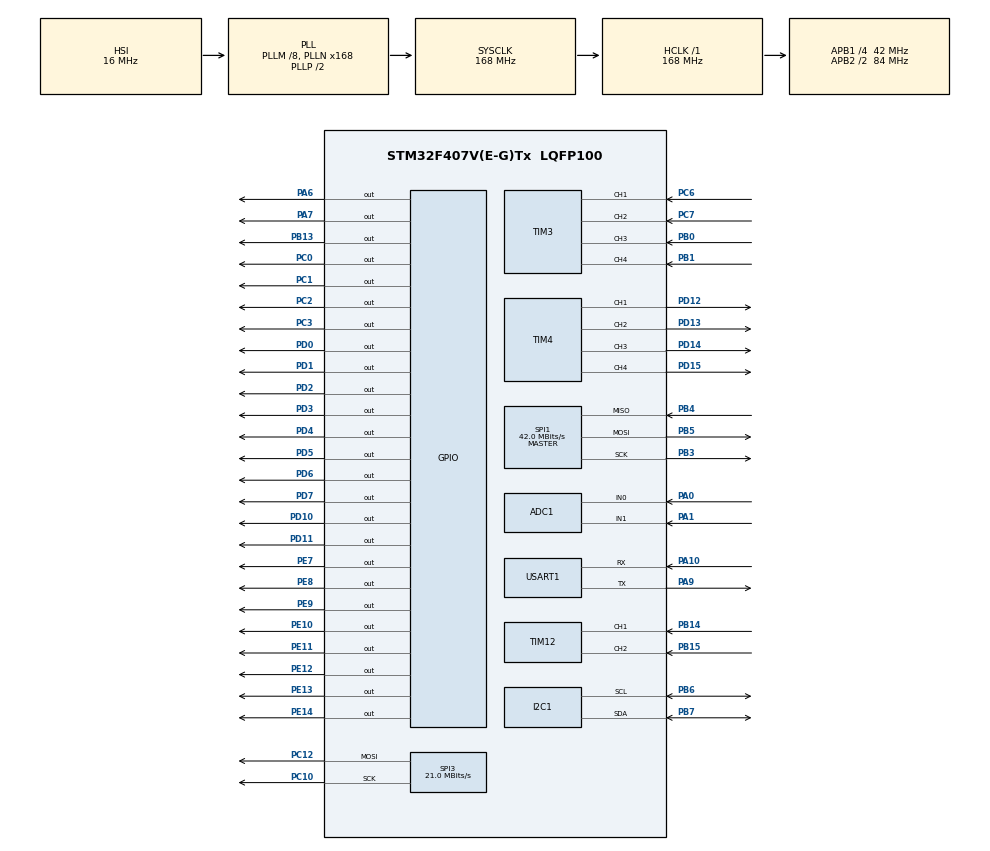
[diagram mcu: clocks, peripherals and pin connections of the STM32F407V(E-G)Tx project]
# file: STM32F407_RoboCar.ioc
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ADC1.Channel-28\#ChannelRegularConversion=ADC_CHANNEL_0
ADC1.Channel-29\#ChannelInjectedConversion=ADC_CHANNEL_0
ADC1.Channel-30\#ChannelInjectedConversion=ADC_CHANNEL_0
ADC1.InjNumberOfConversion=2
ADC1.InjectedOffset-29\#ChannelInjectedConversion=0
ADC1.InjectedOffset-30\#ChannelInjectedConversion=0
ADC1.InjectedRank-29\#ChannelInjectedConversion=1
ADC1.InjectedRank-30\#ChannelInjectedConversion=2
ADC1.NbrOfConversion=1
ADC1.NbrOfConversionFlag=1
ADC1.Rank-28\#ChannelRegularConversion=1
ADC1.SamplingTime-28\#ChannelRegularConversion=ADC_SAMPLETIME_3CYCLES
ADC1.SamplingTime-29\#ChannelInjectedConversion=ADC_SAMPLETIME_3CYCLES
ADC1.SamplingTime-30\#ChannelInjectedConversion=ADC_SAMPLETIME_3CYCLES
ADC1.master=1
FREERTOS.Queues01=StepCommandQueue,16,uint16_t,0,Dynamic,NULL,NULL
FREERTOS.Tasks01=SensorMonitorin,0,128,SensorMonitorFunction,Default,NULL,Dynamic,NULL,NULL;Uart_Control_Ta,-3,128,UARTTransferFunction,Default,NULL,Dynamic,NULL,NULL;DC_Motor_Cont,-3,128,DC_Motor_Function,Default,NULL,Dynamic,NULL,NULL;StepMotor_Con,-3,128,StepMotorFunc,Default,NULL,Dynamic,NULL,NULL
Mcu.Family=STM32F4
Mcu.Name=STM32F407V(E-G)Tx
Mcu.Package=LQFP100
NVIC.I2C1_EV_IRQn=true\:5\:0\:false\:false\:true\:true\:true
NVIC.PriorityGroup=NVIC_PRIORITYGROUP_4
NVIC.SPI1_IRQn=true\:5\:0\:false\:false\:true\:true\:true
NVIC.SPI3_IRQn=true\:5\:0\:false\:false\:true\:true\:true
NVIC.TIM1_UP_TIM10_IRQn=true\:0\:0\:false\:false\:true\:false\:false
NVIC.TimeBase=TIM1_UP_TIM10_IRQn
NVIC.TimeBaseIP=TIM1
NVIC.USART1_IRQn=true\:5\:0\:false\:false\:true\:true\:true
PA0-WKUP.Signal=ADCx_IN0
PA1.Signal=ADCx_IN1
PA10.Mode=Asynchronous
PA10.Signal=USART1_RX
PA13.Mode=Serial_Wire
PA13.Signal=SYS_JTMS-SWDIO
PA14.Mode=Serial_Wire
PA14.Signal=SYS_JTCK-SWCLK
PA6.Signal=GPIO_Output
PA7.Signal=GPIO_Output
PA9.Mode=Asynchronous
PA9.Signal=USART1_TX
PB0.Signal=S_TIM3_CH3
PB1.Signal=S_TIM3_CH4
PB13.Signal=GPIO_Output
PB14.Signal=S_TIM12_CH1
PB15.Signal=S_TIM12_CH2
PB3.Mode=Full_Duplex_Master
PB3.Signal=SPI1_SCK
PB4.Mode=Full_Duplex_Master
PB4.Signal=SPI1_MISO
PB5.Mode=Full_Duplex_Master
PB5.Signal=SPI1_MOSI
PB6.Mode=I2C
PB6.Signal=I2C1_SCL
PB7.Mode=I2C
PB7.Signal=I2C1_SDA
PC0.Signal=GPIO_Output
PC1.Signal=GPIO_Output
PC10.Mode=TX_Only_Simplex_Unidirect_Master
PC10.Signal=SPI3_SCK
PC12.Mode=TX_Only_Simplex_Unidirect_Master
PC12.Signal=SPI3_MOSI
PC2.Signal=GPIO_Output
PC3.Signal=GPIO_Output
PC6.Signal=S_TIM3_CH1
PC7.Signal=S_TIM3_CH2
PD0.Signal=GPIO_Output
PD1.Signal=GPIO_Output
PD10.Signal=GPIO_Output
PD11.Signal=GPIO_Output
PD12.Signal=S_TIM4_CH1
PD13.Signal=S_TIM4_CH2
PD14.Signal=S_TIM4_CH3
PD15.Signal=S_TIM4_CH4
PD2.Signal=GPIO_Output
PD3.Signal=GPIO_Output
PD4.Signal=GPIO_Output
PD5.Signal=GPIO_Output
PD6.Signal=GPIO_Output
PD7.Signal=GPIO_Output
PE10.Signal=GPIO_Output
PE11.Signal=GPIO_Output
PE12.Signal=GPIO_Output
PE13.Signal=GPIO_Output
PE14.Signal=GPIO_Output
PE7.Signal=GPIO_Output
PE8.Signal=GPIO_Output
PE9.Signal=GPIO_Output
PH0-OSC_IN.Mode=HSE-External-Oscillator
PH0-OSC_IN.Signal=RCC_OSC_IN
PH1-OSC_OUT.Mode=HSE-External-Oscillator
PH1-OSC_OUT.Signal=RCC_OSC_OUT
ProjectManager.HeapSize=0x400
ProjectManager.StackSize=0x800
ProjectManager.TargetToolchain=Other Toolchains (GPDSC)
RCC.48MHZClocksFreq_Value=84000000
RCC.AHBFreq_Value=168000000
RCC.APB1CLKDivider=RCC_HCLK_DIV4
RCC.APB1Freq_Value=42000000
RCC.APB1TimFreq_Value=84000000
RCC.APB2CLKDivider=RCC_HCLK_DIV2
RCC.APB2Freq_Value=84000000
RCC.APB2TimFreq_Value=168000000
RCC.CortexFreq_Value=168000000
RCC.HCLKFreq_Value=168000000
RCC.HSE_VALUE=25000000
RCC.HSI_VALUE=16000000
RCC.LSE_VALUE=32768
RCC.PLLM=8
RCC.PLLN=168
RCC.SYSCLKFreq_VALUE=168000000
RCC.SYSCLKSource=RCC_SYSCLKSOURCE_PLLCLK
RCC.VCOOutputFreq_Value=336000000
SH.ADCx_IN0.0=ADC1_IN0,IN0
SH.ADCx_IN1.0=ADC1_IN1,IN1
SH.S_TIM12_CH1.0=TIM12_CH1,Input_Capture1_from_TI1
SH.S_TIM12_CH2.0=TIM12_CH2,Input_Capture2_from_TI2
SH.S_TIM3_CH1.0=TIM3_CH1,Input_Capture1_from_TI1
SH.S_TIM3_CH2.0=TIM3_CH2,Input_Capture2_from_TI2
SH.S_TIM3_CH3.0=TIM3_CH3,Input_Capture3_from_TI3
SH.S_TIM3_CH4.0=TIM3_CH4,Input_Capture4_from_TI4
SH.S_TIM4_CH1.0=TIM4_CH1,PWM Generation1 CH1
SH.S_TIM4_CH2.0=TIM4_CH2,PWM Generation2 CH2
SH.S_TIM4_CH3.0=TIM4_CH3,PWM Generation3 CH3
SH.S_TIM4_CH4.0=TIM4_CH4,PWM Generation4 CH4
SPI1.CalculateBaudRate=42.0 MBits/s
SPI1.Direction=SPI_DIRECTION_2LINES
SPI1.Mode=SPI_MODE_MASTER
SPI1.VirtualType=VM_MASTER
SPI3.CalculateBaudRate=21.0 MBits/s
SPI3.Direction=SPI_DIRECTION_2LINES
SPI3.Mode=SPI_MODE_MASTER
SPI3.VirtualType=VM_MASTER
TIM12.Channel-Input_Capture1_from_TI1=TIM_CHANNEL_1
TIM12.Channel-Input_Capture2_from_TI2=TIM_CHANNEL_2
TIM3.Channel-Input_Capture1_from_TI1=TIM_CHANNEL_1
TIM3.Channel-Input_Capture2_from_TI2=TIM_CHANNEL_2
TIM3.Channel-Input_Capture3_from_TI3=TIM_CHANNEL_3
TIM3.Channel-Input_Capture4_from_TI4=TIM_CHANNEL_4
TIM4.Channel-PWM\ Generation1\ CH1=TIM_CHANNEL_1
TIM4.Channel-PWM\ Generation2\ CH2=TIM_CHANNEL_2
TIM4.Channel-PWM\ Generation3\ CH3=TIM_CHANNEL_3
TIM4.Channel-PWM\ Generation4\ CH4=TIM_CHANNEL_4
USART1.VirtualMode=VM_ASYNC
VP_FREERTOS_VS_ENABLE.Mode=Enabled
VP_SYS_VS_tim1.Mode=TIM1
VP_TIM3_VS_ClockSourceINT.Mode=Internal
VP_TIM6_VS_ClockSourceINT.Mode=Enable_Timer
VP_TIM7_VS_ClockSourceINT.Mode=Enable_Timer
board=custom

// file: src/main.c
/* USER CODE BEGIN Header */
/**
  ******************************************************************************
  * @file           : main.c
  * @brief          : Main program body
  ******************************************************************************
  * This notice applies to any and all portions of this file
  * that are not between comment pairs USER CODE BEGIN and
  * USER CODE END. Other portions of this file, whether
  * inserted by the user or by software development tools
  * are owned by their respective copyright owners.
  *
  * Copyright (c) 2019 STMicroelectronics International N.V.
  * All rights reserved.
  *
  * Redistribution and use in source and binary forms, with or without
  * modification, are permitted, provided that the following conditions are met:
  *
  * 1. Redistribution of source code must retain the above copyright notice,
  *    this list of conditions and the following disclaimer.
  * 2. Redistributions in binary form must reproduce the above copyright notice,
  *    this list of conditions and the following disclaimer in the documentation
  *    and/or other materials provided with the distribution.
  * 3. Neither the name of STMicroelectronics nor the names of other
  *    contributors to this software may be used to endorse or promote products
  *    derived from this software without specific written permission.
  * 4. This software, including modifications and/or derivative works of this
  *    software, must execute solely and exclusively on microcontroller or
  *    microprocessor devices manufactured by or for STMicroelectronics.
  * 5. Redistribution and use of this software other than as permitted under
  *    this license is void and will automatically terminate your rights under
  *    this license.
  *
  * THIS SOFTWARE IS PROVIDED BY STMICROELECTRONICS AND CONTRIBUTORS "AS IS"
  * AND ANY EXPRESS, IMPLIED OR STATUTORY WARRANTIES, INCLUDING, BUT NOT
  * LIMITED TO, THE IMPLIED WARRANTIES OF MERCHANTABILITY, FITNESS FOR A
  * PARTICULAR PURPOSE AND NON-INFRINGEMENT OF THIRD PARTY INTELLECTUAL PROPERTY
  * RIGHTS ARE DISCLAIMED TO THE FULLEST EXTENT PERMITTED BY LAW. IN NO EVENT
  * SHALL STMICROELECTRONICS OR CONTRIBUTORS BE LIABLE FOR ANY DIRECT, INDIRECT,
  * INCIDENTAL, SPECIAL, EXEMPLARY, OR CONSEQUENTIAL DAMAGES (INCLUDING, BUT NOT
  * LIMITED TO, PROCUREMENT OF SUBSTITUTE GOODS OR SERVICES; LOSS OF USE, DATA,
  * OR PROFITS; OR BUSINESS INTERRUPTION) HOWEVER CAUSED AND ON ANY THEORY OF
  * LIABILITY, WHETHER IN CONTRACT, STRICT LIABILITY, OR TORT (INCLUDING
  * NEGLIGENCE OR OTHERWISE) ARISING IN ANY WAY OUT OF THE USE OF THIS SOFTWARE,
  * EVEN IF ADVISED OF THE POSSIBILITY OF SUCH DAMAGE.
  *
  ******************************************************************************
  */
/* USER CODE END Header */

#include "main.h"
#include "cmsis_os.h"
#include "adc.h"
#include "i2c.h"
#include "spi.h"
#include "tim.h"
#include "usart.h"
#include "gpio.h"

void SystemClock_Config(void);
void MX_FREERTOS_Init(void);

int main(void)
{
  /* MCU Configuration--------------------------------------------------------*/

  /* Reset of all peripherals, Initializes the Flash interface and the Systick. */
  HAL_Init();
  /* Configure the system clock */
  SystemClock_Config();

  /* Initialize all configured peripherals */
  MX_GPIO_Init();
  MX_USART1_UART_Init();
  MX_I2C1_Init();
  MX_SPI1_Init();
  MX_TIM4_Init();
  MX_TIM12_Init();
  MX_TIM6_Init();
  MX_TIM7_Init();
  MX_TIM3_Init();
  MX_ADC1_Init();
  MX_SPI3_Init();

  /* Call init function for freertos objects (in freertos.c) */
  MX_FREERTOS_Init();

  /* Start scheduler */
  osKernelStart();

  /* We should never get here as control is now taken by the scheduler */

  /* Infinite loop */
  while (1)
  {

  }
}

void SystemClock_Config(void)
{
  RCC_OscInitTypeDef RCC_OscInitStruct = {0};
  RCC_ClkInitTypeDef RCC_ClkInitStruct = {0};

  /**Configure the main internal regulator output voltage
  */
  __HAL_RCC_PWR_CLK_ENABLE();
  __HAL_PWR_VOLTAGESCALING_CONFIG(PWR_REGULATOR_VOLTAGE_SCALE1);
  /**Initializes the CPU, AHB and APB busses clocks
  */
  RCC_OscInitStruct.OscillatorType = RCC_OSCILLATORTYPE_HSI;
  RCC_OscInitStruct.HSIState = RCC_HSI_ON;
  RCC_OscInitStruct.HSICalibrationValue = RCC_HSICALIBRATION_DEFAULT;
  RCC_OscInitStruct.PLL.PLLState = RCC_PLL_ON;
  RCC_OscInitStruct.PLL.PLLSource = RCC_PLLSOURCE_HSI;
  RCC_OscInitStruct.PLL.PLLM = 8;
  RCC_OscInitStruct.PLL.PLLN = 168;
  RCC_OscInitStruct.PLL.PLLP = RCC_PLLP_DIV2;
  RCC_OscInitStruct.PLL.PLLQ = 4;
  if (HAL_RCC_OscConfig(&RCC_OscInitStruct) != HAL_OK)
  {
    Error_Handler();
  }
  /**Initializes the CPU, AHB and APB busses clocks
  */
  RCC_ClkInitStruct.ClockType = RCC_CLOCKTYPE_HCLK|RCC_CLOCKTYPE_SYSCLK
                              |RCC_CLOCKTYPE_PCLK1|RCC_CLOCKTYPE_PCLK2;
  RCC_ClkInitStruct.SYSCLKSource = RCC_SYSCLKSOURCE_PLLCLK;
  RCC_ClkInitStruct.AHBCLKDivider = RCC_SYSCLK_DIV1;
  RCC_ClkInitStruct.APB1CLKDivider = RCC_HCLK_DIV4;
  RCC_ClkInitStruct.APB2CLKDivider = RCC_HCLK_DIV2;

  if (HAL_RCC_ClockConfig(&RCC_ClkInitStruct, FLASH_LATENCY_5) != HAL_OK)
  {
    Error_Handler();
  }
}

void HAL_TIM_PeriodElapsedCallback(TIM_HandleTypeDef *htim)
{
  if (htim->Instance == TIM1) {
    HAL_IncTick();
  }
}

void Error_Handler(void)
{
}

/************************ (C) COPYRIGHT STMicroelectronics *****END OF FILE****/

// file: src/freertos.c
/* USER CODE BEGIN Header */
/**
  ******************************************************************************
  * File Name          : freertos.c
  * Description        : Code for freertos applications
  ******************************************************************************
  * This notice applies to any and all portions of this file
  * that are not between comment pairs USER CODE BEGIN and
  * USER CODE END. Other portions of this file, whether
  * inserted by the user or by software development tools
  * are owned by their respective copyright owners.
  *
  * Copyright (c) 2019 STMicroelectronics International N.V.
  * All rights reserved.
  *
  * Redistribution and use in source and binary forms, with or without
  * modification, are permitted, provided that the following conditions are met:
  *
  * 1. Redistribution of source code must retain the above copyright notice,
  *    this list of conditions and the following disclaimer.
  * 2. Redistributions in binary form must reproduce the above copyright notice,
  *    this list of conditions and the following disclaimer in the documentation
  *    and/or other materials provided with the distribution.
  * 3. Neither the name of STMicroelectronics nor the names of other
  *    contributors to this software may be used to endorse or promote products
  *    derived from this software without specific written permission.
  * 4. This software, including modifications and/or derivative works of this
  *    software, must execute solely and exclusively on microcontroller or
  *    microprocessor devices manufactured by or for STMicroelectronics.
  * 5. Redistribution and use of this software other than as permitted under
  *    this license is void and will automatically terminate your rights under
  *    this license.
  *
  * THIS SOFTWARE IS PROVIDED BY STMICROELECTRONICS AND CONTRIBUTORS "AS IS"
  * AND ANY EXPRESS, IMPLIED OR STATUTORY WARRANTIES, INCLUDING, BUT NOT
  * LIMITED TO, THE IMPLIED WARRANTIES OF MERCHANTABILITY, FITNESS FOR A
  * PARTICULAR PURPOSE AND NON-INFRINGEMENT OF THIRD PARTY INTELLECTUAL PROPERTY
  * RIGHTS ARE DISCLAIMED TO THE FULLEST EXTENT PERMITTED BY LAW. IN NO EVENT
  * SHALL STMICROELECTRONICS OR CONTRIBUTORS BE LIABLE FOR ANY DIRECT, INDIRECT,
  * INCIDENTAL, SPECIAL, EXEMPLARY, OR CONSEQUENTIAL DAMAGES (INCLUDING, BUT NOT
  * LIMITED TO, PROCUREMENT OF SUBSTITUTE GOODS OR SERVICES; LOSS OF USE, DATA,
  * OR PROFITS; OR BUSINESS INTERRUPTION) HOWEVER CAUSED AND ON ANY THEORY OF
  * LIABILITY, WHETHER IN CONTRACT, STRICT LIABILITY, OR TORT (INCLUDING
  * NEGLIGENCE OR OTHERWISE) ARISING IN ANY WAY OUT OF THE USE OF THIS SOFTWARE,
  * EVEN IF ADVISED OF THE POSSIBILITY OF SUCH DAMAGE.
  *
  ******************************************************************************
  */
/* USER CODE END Header */

#include "FreeRTOS.h"
#include "task.h"
#include "main.h"
#include "cmsis_os.h"

/* USER CODE BEGIN Includes */
#include "usart.h"
#include "gpio.h"
#include "spi.h"
/* USER CODE END Includes */

/* USER CODE BEGIN PTD */
#define cs_set() HAL_GPIO_WritePin(GPIOD, GPIO_PIN_11, GPIO_PIN_SET)
#define cs_reset() HAL_GPIO_WritePin(GPIOD, GPIO_PIN_11, GPIO_PIN_RESET)
#define cs_strob() cs_set();cs_reset()

#define CLR_set() HAL_GPIO_WritePin(GPIOD, GPIO_PIN_1, GPIO_PIN_SET)
#define CLR_reset() HAL_GPIO_WritePin(GPIOD, GPIO_PIN_1, GPIO_PIN_RESET)

   uint8_t Data[12];
   uint8_t Data2[12];

extern SPI_HandleTypeDef hspi1;
extern SPI_HandleTypeDef hspi3;

/* USER CODE END PTD */

/* USER CODE BEGIN PM */
//AccelDataStruct* AccelData;
//GyroDataStruct*  GyroData;
/* USER CODE END PM */

/* USER CODE BEGIN Variables */

 typedef struct
 {
   GPIO_PinState Line1;
   GPIO_PinState Line2;
   GPIO_PinState Line3;
   GPIO_PinState Line4;
 } STEP_COMMAND;

 void TakeStep(STEP_COMMAND* COMMAND)
 {
   HAL_GPIO_WritePin(GPIOD,GPIO_PIN_0,COMMAND->Line1);
   HAL_GPIO_WritePin(GPIOD,GPIO_PIN_2,COMMAND->Line2);
   HAL_GPIO_WritePin(GPIOD,GPIO_PIN_4,COMMAND->Line3);
   HAL_GPIO_WritePin(GPIOD,GPIO_PIN_6,COMMAND->Line4);

   HAL_GPIO_WritePin(GPIOD,GPIO_PIN_1,COMMAND->Line1);
   HAL_GPIO_WritePin(GPIOD,GPIO_PIN_3,COMMAND->Line2);
   HAL_GPIO_WritePin(GPIOD,GPIO_PIN_5,COMMAND->Line3);
   HAL_GPIO_WritePin(GPIOD,GPIO_PIN_7,COMMAND->Line4);

   HAL_GPIO_WritePin(GPIOC,GPIO_PIN_0,COMMAND->Line1);
   HAL_GPIO_WritePin(GPIOC,GPIO_PIN_1,COMMAND->Line2);
   HAL_GPIO_WritePin(GPIOC,GPIO_PIN_2,COMMAND->Line3);
   HAL_GPIO_WritePin(GPIOC,GPIO_PIN_3,COMMAND->Line4);
 }

 void SetCommand(int in1,int in2,int in3,int in4,STEP_COMMAND* COMMAND)
 {
  COMMAND->Line1 = GPIO_PIN_SET;
  COMMAND->Line2 = GPIO_PIN_SET;
  COMMAND->Line3 = GPIO_PIN_SET;
  COMMAND->Line4 = GPIO_PIN_SET;
  if(in1 == 0)
  COMMAND->Line1 = GPIO_PIN_RESET;
  if(in2 == 0)
  COMMAND->Line2 = GPIO_PIN_RESET;
  if(in3 == 0)
  COMMAND->Line3 = GPIO_PIN_RESET;
  if(in4 == 0)
  COMMAND->Line4 = GPIO_PIN_RESET;
 }
/* USER CODE END Variables */
osThreadId SensorMonitorinHandle;
osThreadId Uart_Control_TaHandle;
osThreadId DC_Motor_ContHandle;
osThreadId StepMotor_ConHandle;

osMessageQId DCMotorCommandQueueHandle;
osMessageQId StepMotorCommandQueueHandle;
osMessageQId AccelCommandQueueHandle;

osMessageQId DCMotorStateQueueHandle;
osMessageQId StepMotorStateQueueHandle;
osMessageQId AccelStateQueueHandle;

osMessageQId RangersStateQueueHandle;
osMessageQId BatteryStateQueueHandle;

void SensorMonitorFunction(void const * argument);
void UARTTransferFunction(void const * argument);
void DC_Motor_Function(void const * argument);
void StepMotorFunc(void const * argument);

void MX_FREERTOS_Init(void); /* (MISRA C 2004 rule 8.1) */

void MX_FREERTOS_Init(void) {

  /* Create the thread(s) */
  /* definition and creation of SensorMonitorin */
  osThreadDef(SensorMonitorin, SensorMonitorFunction, osPriorityNormal, 0, 128);
  SensorMonitorinHandle = osThreadCreate(osThread(SensorMonitorin), NULL);

  /* definition and creation of Uart_Control_Ta */
  osThreadDef(Uart_Control_Ta, UARTTransferFunction, osPriorityIdle, 0, 128);
  Uart_Control_TaHandle = osThreadCreate(osThread(Uart_Control_Ta), NULL);

  /* definition and creation of DC_Motor_Cont */
  osThreadDef(DC_Motor_Cont, DC_Motor_Function, osPriorityIdle, 0, 128);
  DC_Motor_ContHandle = osThreadCreate(osThread(DC_Motor_Cont), NULL);

  /* definition and creation of StepMotor_Con */
  osThreadDef(StepMotor_Con, StepMotorFunc, osPriorityIdle, 0, 128);
  StepMotor_ConHandle = osThreadCreate(osThread(StepMotor_Con), NULL);

  /* Create the queue(s) */
  /* definition and creation of StepCommandQueue */
  //COMMAND TO MC DATA QUEUES
  osMessageQDef(StepMotorCommandQueue, 18, uint16_t);
  StepMotorCommandQueueHandle = osMessageCreate(osMessageQ(StepMotorCommandQueue), NULL);

  osMessageQDef(DCMotorCommandQueue, 14, uint16_t);
  DCMotorCommandQueueHandle = osMessageCreate(osMessageQ(DCMotorCommandQueue), NULL);

  osMessageQDef(AccelCommandQueue, 18, uint16_t);
  AccelCommandQueueHandle = osMessageCreate(osMessageQ(AccelCommandQueue), NULL);

  //STATE FROM MC DATA QUEUES
  osMessageQDef(StepMotorStateQueue, 18, uint16_t);
  StepMotorStateQueueHandle = osMessageCreate(osMessageQ(StepMotorStateQueue), NULL);

  osMessageQDef(DCMotorStateQueue, 14, uint16_t);
  DCMotorStateQueueHandle = osMessageCreate(osMessageQ(DCMotorStateQueue), NULL);

  osMessageQDef(AccelStateQueue, 18, uint16_t);
  AccelStateQueueHandle = osMessageCreate(osMessageQ(AccelStateQueue), NULL);

  osMessageQDef(RangersStateQueue, 10, uint16_t);
  RangersStateQueueHandle = osMessageCreate(osMessageQ(RangersStateQueue), NULL);

  osMessageQDef(BatteryStateQueue, 10, uint16_t);
  BatteryStateQueueHandle = osMessageCreate(osMessageQ(BatteryStateQueue), NULL);
}

void SensorMonitorFunction(void const * argument)
{
 Data2[0] = 0x0;    Data[0] = 0x0;
 Data2[1] = 0x0;    Data[1] = 0x1;
 Data2[2] = 0x0;    Data[2] = 0x3;
 Data2[3] = 0x0;    Data[3] = 0x7;
 Data2[4] = 0x0;    Data[4] = 0xF;
 Data2[5] = 0x0;    Data[5] = 0x1F;
 Data2[6] = 0x0;    Data[6] = 0x3F;
 Data2[7] = 0x0;    Data[7] = 0x7F;
 Data2[8] = 0x0;    Data[8] = 0xFF;
 Data2[9] = 0x8;    Data[9] = 0xFF;
 Data2[10] = 0xC;   Data[10] = 0xFF;
 Data2[11] = 0xFF;  Data[11] = 0xFF;

 uint8_t Counter = 0;
  cs_reset();
  /* USER CODE BEGIN SensorMonitorFunction */

 //  AccelData = malloc(sizeof(AccelDataStruct));
 //  GyroData =  malloc(sizeof(GyroDataStruct));
 //  AccelerometerStruct* AccelerometerData = malloc(sizeof(AccelerometerStruct));

 //     ReadDeviceID();
 //     osDelay(300);
 //     MPU_init();
 // /* Infinite loop */
  for(;;)
  {
 //   MPU_get_accel(AccelData);
 //   MPU_get_gyro(GyroData);
 //   memcpy(AccelerometerData + 6,AccelData + 6,6);
 //   memcpy(AccelerometerData + 12,GyroData + 6,6);
  Counter++;
//				   CLR_reset(); HAL_Delay(10); CLR_set();
			   if(Counter > 11)
			   {
				   Counter = 0;
			  }

  HAL_SPI_Transmit_IT(&hspi3, Data2, 1);
  HAL_SPI_Transmit_IT(&hspi3, Data, 1);
  cs_strob();

  HAL_SPI_Transmit_IT(&hspi3, Data2 + Counter, 1);
  HAL_SPI_Transmit_IT(&hspi3, Data + Counter, 1);
  cs_strob();
  osDelay(500);
 //   osMessagePut(AccelStateQueueHandle,(uint32_t)AccelerometerData,5);
  }
 // free(AccelData);
 // free(GyroData);
 // free(AccelerometerData);
  /* USER CODE END SensorMonitorFunction */
}

void UARTTransferFunction(void const * argument)
{
  /* USER CODE BEGIN UARTTransferFunction */
  /* Infinite loop */
             //uint8_t DataRec[30];
             //uint16_t MESSAGE_SIZE = 0;

    //HAL_UART_Receive_IT(&huart1,DataRec,3);
    //osDelay(10);

   // MotorControl StepMotorCommand;
   //              StepMotorCommand.NumberMotor = 0;
   //              StepMotorCommand.Speed = 0;
   //              StepMotorCommand.Angle = 0;
   //              StepMotorCommand.Direction = 1;
   // MotorControl* MotorRecCommand;

    int count = 0;
  /* Infinite loop */
  for(;;)
  {
   //   osEvent event = osMessageGet(AccelStateQueueHandle,0);
   //   if(event.status == osEventMessage)
   //   {
   //     HEADER_STRUCT* Data = event.value.p;
   //     HAL_UART_Transmit_IT(&huart1,(uint8_t*)(Data),Data->SIZE_UNIT);
   //     osDelay(20);
   //   }
   //           event = osMessageGet(DCMotorStateQueueHandle,0);
   //   if(event.status == osEventMessage)
   //   {
   //     HEADER_STRUCT* Data = event.value.p;
   //     HAL_UART_Transmit_IT(&huart1,(uint8_t*)(Data),Data->SIZE_UNIT);
   //     osDelay(20);
   //   }
   //           event = osMessageGet(StepMotorStateQueueHandle,0);
   //   if(event.status == osEventMessage)
   //   {
   //     HEADER_STRUCT* Data = event.value.p;
   //     HAL_UART_Transmit_IT(&huart1,(uint8_t*)(Data),Data->SIZE_UNIT);
   //     osDelay(20);
   //   }
   //           event = osMessageGet(RangeStateDataQueueHandle,0);
   //   if(event.status == osEventMessage)
   //   {
   //     HEADER_STRUCT* Data = event.value.p;
   //     HAL_UART_Transmit_IT(&huart1,(uint8_t*)(Data),Data->SIZE_UNIT);
   //     osDelay(20);
   //   }
   //           event = osMessageGet(BatteryStateQueueHandle,0);
   //   if(event.status == osEventMessage)
   //   {
   //     HEADER_STRUCT* Data = event.value.p;
   //     HAL_UART_Transmit_IT(&huart1,(uint8_t*)(Data),Data->SIZE_UNIT);
   //     osDelay(20);
      }

          //sprintf(MESSAGE,"ACCEL X = %d Y = %d Z = %d \r\n",Data->Accel_X,Data->Accel_Y,Data->Accel_Z);
          //HAL_UART_Transmit_IT(&huart1,(uint8_t*)MESSAGE,strlen(MESSAGE));

  // READ COMMAND FROM UART TO CONTROL STEP MOTOR
  //  if(huart1.RxXferCount == 0)
  //  {
  //            if(DataRec[0] == 0xA1 && DataRec[1] == 0xF1)
  //            {
  //              MESSAGE_SIZE = DataRec[2];
  //              DataRec[0] = 0;
  //              DataRec[1] = 0;
  //              HAL_UART_Receive_IT(&huart1,DataRec,MESSAGE_SIZE);
  //              osDelay(10);
  //             //     sprintf(MESSAGE+3,"MC WAIT BYTES %d",MESSAGE_SIZE);
  //             //     MESSAGE[2] = strlen(MESSAGE+3);
  //             //     HAL_UART_Transmit_IT(&huart1,(uint8_t*)MESSAGE,strlen(MESSAGE));
  //             // osDelay(10);
  //            }

  //            if(MESSAGE_SIZE != 0)
  //            {

  //              if(DataRec[0] == 0x01)
  //              {
  //                  sprintf(MESSAGE+3,"recieved - %s",DataRec);
  //                  MESSAGE[2] = strlen(MESSAGE+3);
  //                  HAL_UART_Transmit_IT(&huart1,(uint8_t*)MESSAGE,strlen(MESSAGE));
  //                  osDelay(10);
  //              }

  //                  if(DataRec[0] == 0xD1)
  //                  {
  //                      MotorRecCommand = (MotorControl*)(DataRec+1);
  //                      StepMotorCommand.NumberMotor = MotorRecCommand->NumberMotor;
  //                      StepMotorCommand.Direction = MotorRecCommand->Direction;
  //                      StepMotorCommand.Speed = MotorRecCommand->Speed;
  //                      StepMotorCommand.Angle = MotorRecCommand->Angle;
  //                          osMessagePut(StepCommandQueueHandle,&StepMotorCommand,5);
  //                      sprintf(MESSAGE+3,"MOTOR COMMAND - %d %d %d %d",StepMotorCommand.NumberMotor,
  //                                                                      StepMotorCommand.Direction,
  //                                                                      StepMotorCommand.Angle,
  //                                                                      StepMotorCommand.Speed);
  //                      MESSAGE[2] = strlen(MESSAGE+3);
  //                      HAL_UART_Transmit_IT(&huart1,(uint8_t*)MESSAGE,strlen(MESSAGE));
  //                      osDelay(40);
  //                  }

  //              if(DataRec[0] == 0xD2)
  //              {
  //                  sprintf(MESSAGE+3,"COMMAND TO DC MOTOR GET");
  //                  MESSAGE[2] = strlen(MESSAGE+3);
  //                  HAL_UART_Transmit_IT(&huart1,(uint8_t*)MESSAGE,strlen(MESSAGE));
  //                  osDelay(10);

  //              }

  //                  MESSAGE_SIZE = 0;
  //              HAL_UART_Receive_IT(&huart1,DataRec,3);
  //            }
  //==========================================================================================
  /* USER CODE END UARTTransferFunction */
}

void DC_Motor_Function(void const * argument)
{
  for(;;)
  {
    osDelay(1);
  }
}

void StepMotorFunc(void const * argument)
{
  /* USER CODE BEGIN StepMotorFunc */
  /* Infinite loop */
 //uint8_t MESSAGE[20];

 STEP_COMMAND COMMAND_SEQUENCE[8];
  SetCommand(1,0,0,0,&COMMAND_SEQUENCE[0]);
  SetCommand(1,1,0,0,&COMMAND_SEQUENCE[1]);
  SetCommand(0,1,0,0,&COMMAND_SEQUENCE[2]);
  SetCommand(0,1,1,0,&COMMAND_SEQUENCE[3]);
  SetCommand(0,0,1,0,&COMMAND_SEQUENCE[4]);
  SetCommand(0,0,1,1,&COMMAND_SEQUENCE[5]);
  SetCommand(0,0,0,1,&COMMAND_SEQUENCE[6]);
  SetCommand(1,0,0,1,&COMMAND_SEQUENCE[7]);

  STEP_COMMAND COMMAND_SEQUENCE_FULL[4];
  SetCommand(1,0,0,1,&COMMAND_SEQUENCE_FULL[0]);
  SetCommand(1,1,0,0,&COMMAND_SEQUENCE_FULL[1]);
  SetCommand(0,1,1,0,&COMMAND_SEQUENCE_FULL[2]);
  SetCommand(0,0,1,1,&COMMAND_SEQUENCE_FULL[3]);

  STEP_COMMAND COMMAND_SEQUENCE_FULL_BACK[4];
  SetCommand(0,0,1,1,&COMMAND_SEQUENCE_FULL_BACK[0]);
  SetCommand(0,1,1,0,&COMMAND_SEQUENCE_FULL_BACK[1]);
  SetCommand(1,1,0,0,&COMMAND_SEQUENCE_FULL_BACK[2]);
  SetCommand(1,0,0,1,&COMMAND_SEQUENCE_FULL_BACK[3]);
  int n = 0;

  int count_sector = 0;
  int Direction = 1;

  /* Infinite loop */
  for(;;)
  {
    osDelay(4);
      count_sector++;

      if(count_sector == 400)
      {
        count_sector = 0;
        Direction = Direction*-1;
      }

      if(Direction == 1)
      {
      TakeStep(COMMAND_SEQUENCE_FULL + n);
      n++;
      if(n == 4)
      n = 0;
      }

      if(Direction == -1)
      {
      TakeStep(COMMAND_SEQUENCE_FULL_BACK + n);
      n++;
      if(n == 4)
      n = 0;
      }

 //     osEvent event = osMessageGet(StepMotorCommandQueueHandle,0);
 //     if(event.status == osEventMessage)
 //     {
 //       StepMotorControlStruct* Data = event.value.p;
        //Direction = Data->Direction;

          //sprintf(MESSAGE,"DIRECTION - %d  \r\n",Direction);
          //HAL_UART_Transmit_IT(&huart1,(uint8_t*)MESSAGE,strlen(MESSAGE));
          //osDelay(20);
      }
  /* USER CODE END StepMotorFunc */
}

/************************ (C) COPYRIGHT STMicroelectronics *****END OF FILE****/
